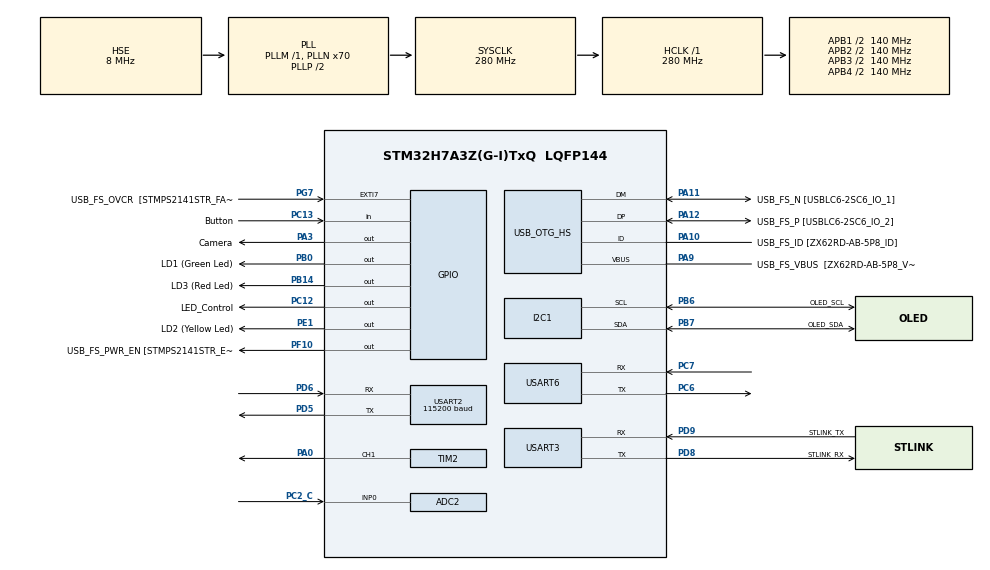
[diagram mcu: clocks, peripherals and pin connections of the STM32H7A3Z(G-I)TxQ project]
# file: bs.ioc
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ADC2.Channel-0\#ChannelRegularConversion=ADC_CHANNEL_0
ADC2.ClockPrescaler=ADC_CLOCK_ASYNC_DIV4
ADC2.ContinuousConvMode=DISABLE
ADC2.NbrOfConversionFlag=1
ADC2.OffsetNumber-0\#ChannelRegularConversion=ADC_OFFSET_NONE
ADC2.OffsetSignedSaturation-0\#ChannelRegularConversion=DISABLE
ADC2.Rank-0\#ChannelRegularConversion=1
ADC2.Resolution=ADC_RESOLUTION_12B
ADC2.SamplingTime-0\#ChannelRegularConversion=ADC_SAMPLETIME_1CYCLE_5
Dma.Request0=USART3_TX
Dma.Request1=USART3_RX
Dma.Request2=TIM2_CH1
Dma.Request3=USART2_RX
Dma.Request4=USART6_RX
Dma.Request5=USART6_TX
Dma.TIM2_CH1.2.Direction=DMA_MEMORY_TO_PERIPH
Dma.TIM2_CH1.2.EventEnable=DISABLE
Dma.TIM2_CH1.2.FIFOMode=DMA_FIFOMODE_DISABLE
Dma.TIM2_CH1.2.Instance=DMA1_Stream2
Dma.TIM2_CH1.2.MemDataAlignment=DMA_MDATAALIGN_WORD
Dma.TIM2_CH1.2.MemInc=DMA_MINC_ENABLE
Dma.TIM2_CH1.2.Mode=DMA_NORMAL
Dma.TIM2_CH1.2.PeriphDataAlignment=DMA_PDATAALIGN_WORD
Dma.TIM2_CH1.2.PeriphInc=DMA_PINC_DISABLE
Dma.TIM2_CH1.2.Polarity=HAL_DMAMUX_REQ_GEN_RISING
Dma.TIM2_CH1.2.Priority=DMA_PRIORITY_LOW
Dma.TIM2_CH1.2.RequestNumber=1
Dma.TIM2_CH1.2.SignalID=NONE
Dma.TIM2_CH1.2.SyncEnable=DISABLE
Dma.TIM2_CH1.2.SyncPolarity=HAL_DMAMUX_SYNC_NO_EVENT
Dma.TIM2_CH1.2.SyncRequestNumber=1
Dma.TIM2_CH1.2.SyncSignalID=NONE
Dma.USART2_RX.3.Direction=DMA_PERIPH_TO_MEMORY
Dma.USART2_RX.3.EventEnable=DISABLE
Dma.USART2_RX.3.FIFOMode=DMA_FIFOMODE_DISABLE
Dma.USART2_RX.3.Instance=DMA1_Stream3
Dma.USART2_RX.3.MemDataAlignment=DMA_MDATAALIGN_BYTE
Dma.USART2_RX.3.MemInc=DMA_MINC_ENABLE
Dma.USART2_RX.3.Mode=DMA_NORMAL
Dma.USART2_RX.3.PeriphDataAlignment=DMA_PDATAALIGN_BYTE
Dma.USART2_RX.3.PeriphInc=DMA_PINC_DISABLE
Dma.USART2_RX.3.Polarity=HAL_DMAMUX_REQ_GEN_RISING
Dma.USART2_RX.3.Priority=DMA_PRIORITY_LOW
Dma.USART2_RX.3.RequestNumber=1
Dma.USART2_RX.3.SignalID=NONE
Dma.USART2_RX.3.SyncEnable=DISABLE
Dma.USART2_RX.3.SyncPolarity=HAL_DMAMUX_SYNC_NO_EVENT
Dma.USART2_RX.3.SyncRequestNumber=1
Dma.USART2_RX.3.SyncSignalID=NONE
Dma.USART3_RX.1.Direction=DMA_PERIPH_TO_MEMORY
Dma.USART3_RX.1.EventEnable=DISABLE
Dma.USART3_RX.1.FIFOMode=DMA_FIFOMODE_DISABLE
Dma.USART3_RX.1.Instance=DMA1_Stream1
Dma.USART3_RX.1.MemDataAlignment=DMA_MDATAALIGN_BYTE
Dma.USART3_RX.1.MemInc=DMA_MINC_ENABLE
Dma.USART3_RX.1.Mode=DMA_NORMAL
Dma.USART3_RX.1.PeriphDataAlignment=DMA_PDATAALIGN_BYTE
Dma.USART3_RX.1.PeriphInc=DMA_PINC_DISABLE
Dma.USART3_RX.1.Polarity=HAL_DMAMUX_REQ_GEN_RISING
Dma.USART3_RX.1.Priority=DMA_PRIORITY_LOW
Dma.USART3_RX.1.RequestNumber=1
Dma.USART3_RX.1.SignalID=NONE
Dma.USART3_RX.1.SyncEnable=DISABLE
Dma.USART3_RX.1.SyncPolarity=HAL_DMAMUX_SYNC_NO_EVENT
Dma.USART3_RX.1.SyncRequestNumber=1
Dma.USART3_RX.1.SyncSignalID=NONE
Dma.USART3_TX.0.Direction=DMA_MEMORY_TO_PERIPH
Dma.USART3_TX.0.EventEnable=DISABLE
Dma.USART3_TX.0.FIFOMode=DMA_FIFOMODE_DISABLE
Dma.USART3_TX.0.Instance=DMA1_Stream0
Dma.USART3_TX.0.MemDataAlignment=DMA_MDATAALIGN_BYTE
Dma.USART3_TX.0.MemInc=DMA_MINC_ENABLE
Dma.USART3_TX.0.Mode=DMA_NORMAL
Dma.USART3_TX.0.PeriphDataAlignment=DMA_PDATAALIGN_BYTE
Dma.USART3_TX.0.PeriphInc=DMA_PINC_DISABLE
Dma.USART3_TX.0.Polarity=HAL_DMAMUX_REQ_GEN_RISING
Dma.USART3_TX.0.Priority=DMA_PRIORITY_LOW
Dma.USART3_TX.0.RequestNumber=1
Dma.USART3_TX.0.SignalID=NONE
Dma.USART3_TX.0.SyncEnable=DISABLE
Dma.USART3_TX.0.SyncPolarity=HAL_DMAMUX_SYNC_NO_EVENT
Dma.USART3_TX.0.SyncRequestNumber=1
Dma.USART3_TX.0.SyncSignalID=NONE
Dma.USART6_RX.4.Direction=DMA_PERIPH_TO_MEMORY
Dma.USART6_RX.4.EventEnable=DISABLE
Dma.USART6_RX.4.FIFOMode=DMA_FIFOMODE_DISABLE
Dma.USART6_RX.4.Instance=DMA1_Stream4
Dma.USART6_RX.4.MemDataAlignment=DMA_MDATAALIGN_BYTE
Dma.USART6_RX.4.MemInc=DMA_MINC_ENABLE
Dma.USART6_RX.4.Mode=DMA_NORMAL
Dma.USART6_RX.4.PeriphDataAlignment=DMA_PDATAALIGN_BYTE
Dma.USART6_RX.4.PeriphInc=DMA_PINC_DISABLE
Dma.USART6_RX.4.Polarity=HAL_DMAMUX_REQ_GEN_RISING
Dma.USART6_RX.4.Priority=DMA_PRIORITY_LOW
Dma.USART6_RX.4.RequestNumber=1
Dma.USART6_RX.4.SignalID=NONE
Dma.USART6_RX.4.SyncEnable=DISABLE
Dma.USART6_RX.4.SyncPolarity=HAL_DMAMUX_SYNC_NO_EVENT
Dma.USART6_RX.4.SyncRequestNumber=1
Dma.USART6_RX.4.SyncSignalID=NONE
Dma.USART6_TX.5.Direction=DMA_MEMORY_TO_PERIPH
Dma.USART6_TX.5.EventEnable=DISABLE
Dma.USART6_TX.5.FIFOMode=DMA_FIFOMODE_DISABLE
Dma.USART6_TX.5.Instance=DMA1_Stream5
Dma.USART6_TX.5.MemDataAlignment=DMA_MDATAALIGN_BYTE
Dma.USART6_TX.5.MemInc=DMA_MINC_ENABLE
Dma.USART6_TX.5.Mode=DMA_NORMAL
Dma.USART6_TX.5.PeriphDataAlignment=DMA_PDATAALIGN_BYTE
Dma.USART6_TX.5.PeriphInc=DMA_PINC_DISABLE
Dma.USART6_TX.5.Polarity=HAL_DMAMUX_REQ_GEN_RISING
Dma.USART6_TX.5.Priority=DMA_PRIORITY_LOW
Dma.USART6_TX.5.RequestNumber=1
Dma.USART6_TX.5.SignalID=NONE
Dma.USART6_TX.5.SyncEnable=DISABLE
Dma.USART6_TX.5.SyncPolarity=HAL_DMAMUX_SYNC_NO_EVENT
Dma.USART6_TX.5.SyncRequestNumber=1
Dma.USART6_TX.5.SyncSignalID=NONE
I2C1.Timing=0x20B0CCFF
Mcu.Family=STM32H7
Mcu.Name=STM32H7A3Z(G-I)TxQ
Mcu.Package=LQFP144
NVIC.DMA1_Stream0_IRQn=true\:0\:0\:true\:false\:true\:false\:true\:true
NVIC.DMA1_Stream1_IRQn=true\:0\:0\:true\:false\:true\:false\:true\:true
NVIC.DMA1_Stream2_IRQn=true\:0\:0\:false\:false\:true\:false\:true\:true
NVIC.DMA1_Stream3_IRQn=true\:0\:0\:true\:false\:true\:false\:true\:true
NVIC.DMA1_Stream4_IRQn=true\:0\:0\:false\:false\:true\:false\:true\:true
NVIC.DMA1_Stream5_IRQn=true\:0\:0\:false\:false\:true\:false\:true\:true
NVIC.PriorityGroup=NVIC_PRIORITYGROUP_4
NVIC.TIM2_IRQn=true\:6\:0\:true\:false\:true\:true\:true\:true
NVIC.TIM3_IRQn=true\:7\:0\:true\:false\:true\:true\:true\:true
NVIC.TIM6_DAC_IRQn=true\:2\:0\:true\:false\:true\:true\:true\:true
NVIC.USART2_IRQn=true\:0\:0\:true\:false\:true\:true\:true\:true
NVIC.USART3_IRQn=true\:0\:0\:true\:false\:true\:true\:true\:true
NVIC.USART6_IRQn=true\:0\:0\:false\:false\:true\:true\:true\:true
PA0.Signal=S_TIM2_CH1_ETR
PA10.GPIO_Label=USB_FS_ID [ZX62RD-AB-5P8_ID]
PA10.Mode=OTG/Dual-Role-Device-FS
PA10.Signal=USB_OTG_HS_ID
PA11.GPIO_Label=USB_FS_N [USBLC6-2SC6_IO_1]
PA11.Mode=OTG/Dual-Role-Device-FS
PA11.Signal=USB_OTG_HS_DM
PA12.GPIO_Label=USB_FS_P [USBLC6-2SC6_IO_2]
PA12.Mode=OTG/Dual-Role-Device-FS
PA12.Signal=USB_OTG_HS_DP
PA3.GPIO_Label=Camera
PA3.Signal=GPIO_Output
PA9.GPIO_Label=USB_FS_VBUS  [ZX62RD-AB-5P8_VBUS]
PA9.Mode=Activate_VBUS_FS
PA9.Signal=USB_OTG_HS_VBUS
PB0.GPIO_Label=LD1 (Green Led)
PB0.GPIO_PuPd=GPIO_PULLUP
PB0.Signal=GPIO_Output
PB14.GPIO_Label=LD3 (Red Led)
PB14.GPIO_PuPd=GPIO_PULLUP
PB14.Signal=GPIO_Output
PB6.GPIO_Label=OLED_SCL
PB6.Mode=I2C
PB6.Signal=I2C1_SCL
PB7.GPIO_Label=OLED_SDA
PB7.Mode=I2C
PB7.Signal=I2C1_SDA
PC12.GPIO_Label=LED_Control
PC12.GPIO_PuPd=GPIO_PULLUP
PC12.Signal=GPIO_Output
PC13.GPIO_Label=Button
PC13.GPIO_PuPd=GPIO_PULLDOWN
PC13.Signal=GPIO_Input
PC14-OSC32_IN.GPIO_Label=OSC32_IN
PC14-OSC32_IN.Mode=LSE-External-Oscillator
PC14-OSC32_IN.Signal=RCC_OSC32_IN
PC15-OSC32_OUT.GPIO_Label=OSC32_OUT
PC15-OSC32_OUT.Mode=LSE-External-Oscillator
PC15-OSC32_OUT.Signal=RCC_OSC32_OUT
PC2_C.Mode=IN0-Single-Ended
PC2_C.Signal=ADC2_INP0
PC6.Mode=Asynchronous
PC6.Signal=USART6_TX
PC7.Mode=Asynchronous
PC7.Signal=USART6_RX
PD5.Mode=Asynchronous
PD5.Signal=USART2_TX
PD6.Mode=Asynchronous
PD6.Signal=USART2_RX
PD8.GPIO_Label=STLINK_RX
PD8.Mode=Asynchronous
PD8.Signal=USART3_TX
PD9.GPIO_Label=STLINK_TX
PD9.Mode=Asynchronous
PD9.Signal=USART3_RX
PE1.GPIO_Label=LD2 (Yellow Led)
PE1.GPIO_PuPd=GPIO_PULLUP
PE1.Signal=GPIO_Output
PF10.GPIO_Label=USB_FS_PWR_EN [STMPS2141STR_EN]
PF10.GPIO_PuPd=GPIO_PULLUP
PF10.Signal=GPIO_Output
PG7.GPIO_Label=USB_FS_OVCR  [STMPS2141STR_FAULT]
PG7.GPIO_PuPd=GPIO_PULLUP
PG7.Signal=GPXTI7
PH0-OSC_IN.GPIO_Label=PH0-MCU
PH0-OSC_IN.Mode=HSE-External-Oscillator
PH0-OSC_IN.Signal=RCC_OSC_IN
PH1-OSC_OUT.GPIO_Label=PH1-MCU
PH1-OSC_OUT.Mode=HSE-External-Oscillator
PH1-OSC_OUT.Signal=RCC_OSC_OUT
ProjectManager.HeapSize=0x200
ProjectManager.StackSize=0x400
ProjectManager.TargetToolchain=STM32CubeIDE
RCC.ADCFreq_Value=42666666.666666664
RCC.APB1Freq_Value=140000000
RCC.APB2Freq_Value=140000000
RCC.APB3Freq_Value=140000000
RCC.APB4Freq_Value=140000000
RCC.CDPPRE=RCC_APB3_DIV2
RCC.CDPPRE1=RCC_APB1_DIV2
RCC.CDPPRE2=RCC_APB2_DIV2
RCC.CortexFreq_Value=280000000
RCC.DIVM1=1
RCC.DIVM2=1
RCC.DIVM3=1
RCC.DIVN1=70
RCC.DIVN2=16
RCC.DIVN3=24
RCC.DIVP2=3
RCC.HCLKFreq_Value=280000000
RCC.HSE_VALUE=8000000
RCC.PLL2FRACN=0
RCC.PLLFRACN=0
RCC.PLLSourceVirtual=RCC_PLLSOURCE_HSE
RCC.PWR_Regulator_Voltage_Scale=PWR_REGULATOR_VOLTAGE_SCALE0
RCC.SRDPPRE=RCC_APB4_DIV2
RCC.SYSCLKFreq_VALUE=280000000
RCC.SYSCLKSource=RCC_SYSCLKSOURCE_PLLCLK
RCC.SupplySource=PWR_DIRECT_SMPS_SUPPLY
RCC.USBCLockSelection=RCC_USBCLKSOURCE_HSI48
RCC.USBFreq_Value=48000000
SH.S_TIM2_CH1_ETR.0=TIM2_CH1,PWM Generation1 CH1
TIM2.Channel-PWM\ Generation1\ CH1=TIM_CHANNEL_1
TIM2.Period=350
TIM3.AutoReloadPreload=TIM_AUTORELOAD_PRELOAD_ENABLE
TIM3.Period=9999
TIM3.Prescaler=27999
TIM6.Period=1199
TIM6.Prescaler=27999
USART2.BaudRate=115200
USART2.VirtualMode-Asynchronous=VM_ASYNC
USART3.VirtualMode-Asynchronous=VM_ASYNC
USART6.VirtualMode-Asynchronous=VM_ASYNC
VP_TIM2_VS_ClockSourceINT.Mode=Internal
VP_TIM3_VS_ClockSourceINT.Mode=Internal
VP_TIM6_VS_ClockSourceINT.Mode=Enable_Timer
board=NUCLEO-H7A3ZI-Q

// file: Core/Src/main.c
/* USER CODE BEGIN Header */
/**
  ******************************************************************************
  * @file           : main.c
  * @brief          : Main program body
  ******************************************************************************
  * @attention
  *
  * Copyright (c) 2023 STMicroelectronics.
  * All rights reserved.
  *
  * This software is licensed under terms that can be found in the LICENSE file
  * in the root directory of this software component.
  * If no LICENSE file comes with this software, it is provided AS-IS.
  *
  ******************************************************************************
  */
/* USER CODE END Header */
#include "main.h"
#include "adc.h"
#include "dma.h"
#include "i2c.h"
#include "tim.h"
#include "usart.h"
#include "usb_otg.h"
#include "gpio.h"

/* USER CODE BEGIN Includes */
#include <stdio.h>
#include <string.h>
#include "utils.h"
#include "led_control.h"
#include "pressure.h"
#include "camera.h"
#include "oled.h"
/* USER CODE END Includes */

/* USER CODE BEGIN PV */
SysState sys_state = Normal;

int t=0;
/* USER CODE END PV */

void SystemClock_Config(void);

int main(void)
{

  /* MCU Configuration--------------------------------------------------------*/

  /* Reset of all peripherals, Initializes the Flash interface and the Systick. */
  HAL_Init();

  /* Configure the system clock */
  SystemClock_Config();

  /* Initialize all configured peripherals */
  MX_GPIO_Init();
  MX_DMA_Init();
  MX_USART3_UART_Init();
  MX_USB_OTG_HS_USB_Init();
  MX_TIM2_Init();
  MX_ADC2_Init();
  MX_TIM3_Init();
  MX_I2C1_Init();
  MX_TIM6_Init();
  MX_USART2_UART_Init();
  MX_USART6_UART_Init();
  /* USER CODE BEGIN 2 */
	#ifndef MYDEBUG
	HAL_UARTEx_ReceiveToIdle_DMA(&huart3, receive_data, BUFFER_SIZE);
	__HAL_DMA_DISABLE_IT(&hdma_usart3_rx, DMA_IT_HT);
	#else
	HAL_UARTEx_ReceiveToIdle_DMA(&huart6, receive_data, BUFFER_SIZE);
	__HAL_DMA_DISABLE_IT(&hdma_usart6_rx, DMA_IT_HT);
	#endif

	__HAL_TIM_CLEAR_IT(&htim3, TIM_IT_UPDATE);
	HAL_TIM_Base_Start_IT(&htim3);

	Led_Init(&led, &htim2, TIM_CHANNEL_1);
	Led_Code_Reset(&led);

	Camera_Init(&camera, &huart2);

	Pressure_Init(&pressure, &hadc2, 0);
	int32_t last_press = Pressure_Read(&pressure, Pressure_Pre, 100);

	OLED_Init();
	OLED_Clear();
	OLED_Display_On();
	DrawBG();
	HAL_TIM_Base_Start_IT(&htim6);

	HAL_Delay(2000);

  /* USER CODE END 2 */

  /* Infinite loop */
  /* USER CODE BEGIN WHILE */
  while (1)
  {
	  int32_t press = Pressure_Read(&pressure, Pressure_Pre, 100);

//		char msg[6];
//		sprintf(msg, "%d\n", press);
//		HAL_UART_Transmit(&huart3, (uint8_t *)msg, sizeof(msg), 100);

	  if (sys_state == Normal) {
		  // 正常模式下检测压力传感器
		  HAL_GPIO_WritePin(LD1_GPIO_Port, LD1_Pin, GPIO_PIN_SET);
		  HAL_GPIO_WritePin(LD2_GPIO_Port, LD2_Pin, GPIO_PIN_RESET);
		  HAL_GPIO_WritePin(LD3_GPIO_Port, LD3_Pin, GPIO_PIN_RESET);
		  if (ABS(press - last_press) > 12) {
			  sys_state = Monitor;
			  DrawText(2);
		  }
		  last_press = press;
	  }
	  else if (sys_state == Monitor) {
		  // 2min 定时拍照
		  HAL_GPIO_WritePin(LD1_GPIO_Port, LD1_Pin, GPIO_PIN_RESET);
		  HAL_GPIO_WritePin(LD3_GPIO_Port, LD3_Pin, GPIO_PIN_SET);
		  if (Camera_GetState(&camera) == Camera_Idle)
		  {
			  Camera_Start(&camera);
		  }
		  else if (Camera_GetCount(&camera) > 10)
		  {
			  Camera_Reset(&camera);
			  Led_All_Reset(&led);
			  Led_Start(&led);
			  sys_state = Normal;
		  }
	  }
    /* USER CODE END WHILE */

  }
}

void SystemClock_Config(void)
{
  RCC_OscInitTypeDef RCC_OscInitStruct = {0};
  RCC_ClkInitTypeDef RCC_ClkInitStruct = {0};

  /*AXI clock gating */
  RCC->CKGAENR = 0xFFFFFFFF;

  /** Supply configuration update enable
  */
  HAL_PWREx_ConfigSupply(PWR_DIRECT_SMPS_SUPPLY);

  /** Configure the main internal regulator output voltage
  */
  __HAL_PWR_VOLTAGESCALING_CONFIG(PWR_REGULATOR_VOLTAGE_SCALE0);

  while(!__HAL_PWR_GET_FLAG(PWR_FLAG_VOSRDY)) {}

  /** Initializes the RCC Oscillators according to the specified parameters
  * in the RCC_OscInitTypeDef structure.
  */
  RCC_OscInitStruct.OscillatorType = RCC_OSCILLATORTYPE_HSI48|RCC_OSCILLATORTYPE_HSE;
  RCC_OscInitStruct.HSEState = RCC_HSE_ON;
  RCC_OscInitStruct.HSI48State = RCC_HSI48_ON;
  RCC_OscInitStruct.PLL.PLLState = RCC_PLL_ON;
  RCC_OscInitStruct.PLL.PLLSource = RCC_PLLSOURCE_HSE;
  RCC_OscInitStruct.PLL.PLLM = 1;
  RCC_OscInitStruct.PLL.PLLN = 70;
  RCC_OscInitStruct.PLL.PLLP = 2;
  RCC_OscInitStruct.PLL.PLLQ = 2;
  RCC_OscInitStruct.PLL.PLLR = 2;
  RCC_OscInitStruct.PLL.PLLRGE = RCC_PLL1VCIRANGE_3;
  RCC_OscInitStruct.PLL.PLLVCOSEL = RCC_PLL1VCOWIDE;
  RCC_OscInitStruct.PLL.PLLFRACN = 0;
  if (HAL_RCC_OscConfig(&RCC_OscInitStruct) != HAL_OK)
  {
    Error_Handler();
  }

  /** Initializes the CPU, AHB and APB buses clocks
  */
  RCC_ClkInitStruct.ClockType = RCC_CLOCKTYPE_HCLK|RCC_CLOCKTYPE_SYSCLK
                              |RCC_CLOCKTYPE_PCLK1|RCC_CLOCKTYPE_PCLK2
                              |RCC_CLOCKTYPE_D3PCLK1|RCC_CLOCKTYPE_D1PCLK1;
  RCC_ClkInitStruct.SYSCLKSource = RCC_SYSCLKSOURCE_PLLCLK;
  RCC_ClkInitStruct.SYSCLKDivider = RCC_SYSCLK_DIV1;
  RCC_ClkInitStruct.AHBCLKDivider = RCC_HCLK_DIV1;
  RCC_ClkInitStruct.APB3CLKDivider = RCC_APB3_DIV2;
  RCC_ClkInitStruct.APB1CLKDivider = RCC_APB1_DIV2;
  RCC_ClkInitStruct.APB2CLKDivider = RCC_APB2_DIV2;
  RCC_ClkInitStruct.APB4CLKDivider = RCC_APB4_DIV2;

  if (HAL_RCC_ClockConfig(&RCC_ClkInitStruct, FLASH_LATENCY_7) != HAL_OK)
  {
    Error_Handler();
  }
}

void Error_Handler(void)
{
  __disable_irq();
  while (1)
  {
  }
}
